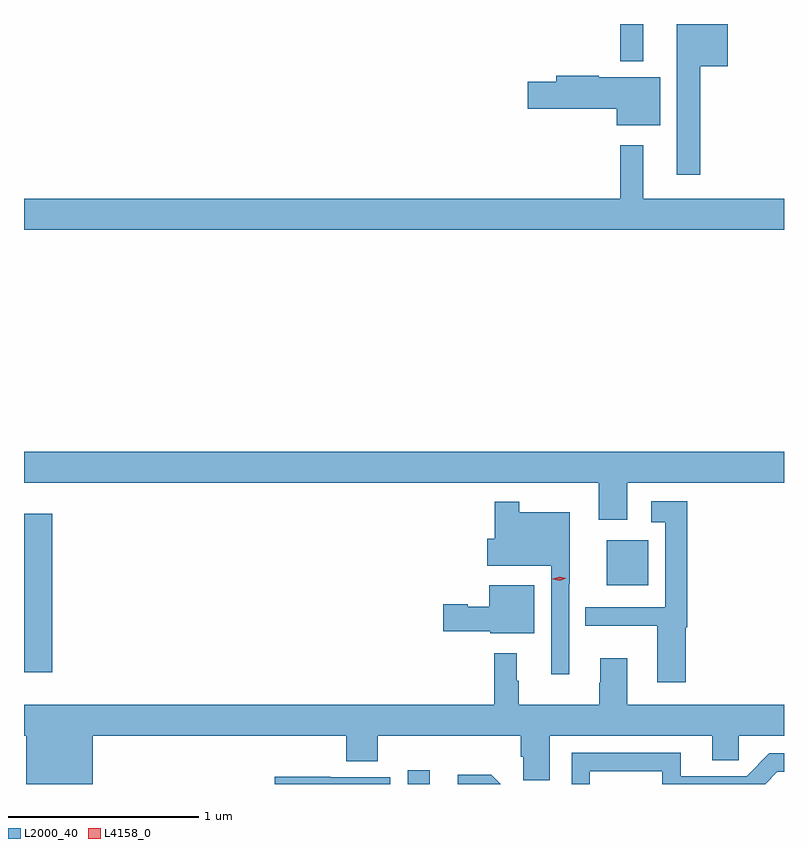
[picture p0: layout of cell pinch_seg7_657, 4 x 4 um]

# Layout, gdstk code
import gdstk
lib = gdstk.Library(unit=1e-6, precision=1e-09)
def R(c, l, rs):  # rectangles x0, y0, x1, y1
    for r in rs: c.add(gdstk.rectangle(r[:2], r[2:], *l))
def P(c, l, *ps):  # polygons
    for p in ps: c.add(gdstk.Polygon(p, *l))
L2000_40 = (2000, 40)
L4158_0 = (4158, 0)

pinch_seg7_657 = lib.new_cell('pinch_seg7_657')
R(pinch_seg7_657, L2000_40, [(311.892,1005.691,312.007,1005.763), (309.871,1006.278,310.019,1007.113), (312.938,1006.736,313.156,1006.975)])
P(pinch_seg7_657, L2000_40, [(313.129,1009.691),(313.008,1009.691),(313.008,1009.603),(313.009,1009.603),(313.009,1009.496),(313.129,1009.496)],
  [(313.429,1009.469),(313.576,1009.469),(313.576,1009.691),(313.307,1009.691),(313.307,1008.897),(313.429,1008.897)],
  [(313.219,1009.411),(312.896,1009.411),(312.896,1009.418),(312.671,1009.418),(312.671,1009.388),(312.522,1009.388),(312.522,1009.246),(312.992,1009.246),(312.992,1009.157),(313.219,1009.157)],
  [(313.871,1008.772),(313.129,1008.772),(313.129,1009.054),(313.008,1009.054),(313.008,1008.772),(309.871,1008.772),(309.871,1008.608),(313.871,1008.608)],
  [(313.045,1007.276),(313.871,1007.276),(313.871,1007.44),(309.871,1007.44),(309.871,1007.276),(312.896,1007.276),(312.896,1007.082),(313.045,1007.082)],
  [(313.355,1006.517),(313.361,1006.517),(313.361,1007.179),(313.173,1007.179),(313.173,1007.069),(313.245,1007.069),(313.245,1006.62),(312.826,1006.62),(312.826,1006.523),(313.205,1006.523),(313.205,1006.227),(313.355,1006.227)],
  [(312.741,1006.745),(312.743,1006.745),(312.743,1007.122),(312.478,1007.122),(312.478,1007.176),(312.349,1007.176),(312.349,1006.983),(312.308,1006.983),(312.308,1006.841),(312.645,1006.841),(312.645,1006.269),(312.741,1006.269)],
  [(312.556,1006.738),(312.32,1006.738),(312.32,1006.624),(312.207,1006.624),(312.207,1006.637),(312.078,1006.637),(312.078,1006.495),(312.324,1006.495),(312.324,1006.484),(312.556,1006.484)],
  [(310.234,1005.944),(311.567,1005.944),(311.567,1005.811),(311.732,1005.811),(311.732,1005.944),(312.485,1005.944),(312.485,1005.835),(312.498,1005.835),(312.498,1005.712),(312.637,1005.712),(312.637,1005.944),(313.493,1005.944),(313.493,1005.817),(313.632,1005.817),(313.632,1005.944),(313.871,1005.944),(313.871,1006.108),(313.045,1006.108),(313.045,1006.354),(312.905,1006.354),(312.905,1006.223),(312.898,1006.223),(312.898,1006.108),(312.475,1006.108),(312.475,1006.235),(312.464,1006.235),(312.464,1006.378),(312.346,1006.378),(312.346,1006.108),(309.871,1006.108),(309.871,1005.944),(309.884,1005.944),(309.884,1005.691),(310.234,1005.691)],
  [(312.849,1005.759),(313.23,1005.759),(313.23,1005.691),(313.771,1005.691),(313.836,1005.756),(313.871,1005.756),(313.871,1005.852),(313.794,1005.852),(313.674,1005.732),(313.327,1005.732),(313.327,1005.855),(312.753,1005.855),(312.753,1005.691),(312.849,1005.691)],
  [(312.331,1005.74),(312.153,1005.74),(312.153,1005.691),(312.38,1005.691)],
  [(311.799,1005.726),(311.483,1005.726),(311.483,1005.728),(311.191,1005.728),(311.191,1005.691),(311.799,1005.691)])
P(pinch_seg7_657, L4158_0, [(312.691,1006.762),(312.655,1006.769),(312.655,1006.77),(312.655,1006.77),(312.69,1006.782),(312.726,1006.774),(312.726,1006.774),(312.726,1006.774)])

lib.write_gds('pinch_seg7_657.gds')
